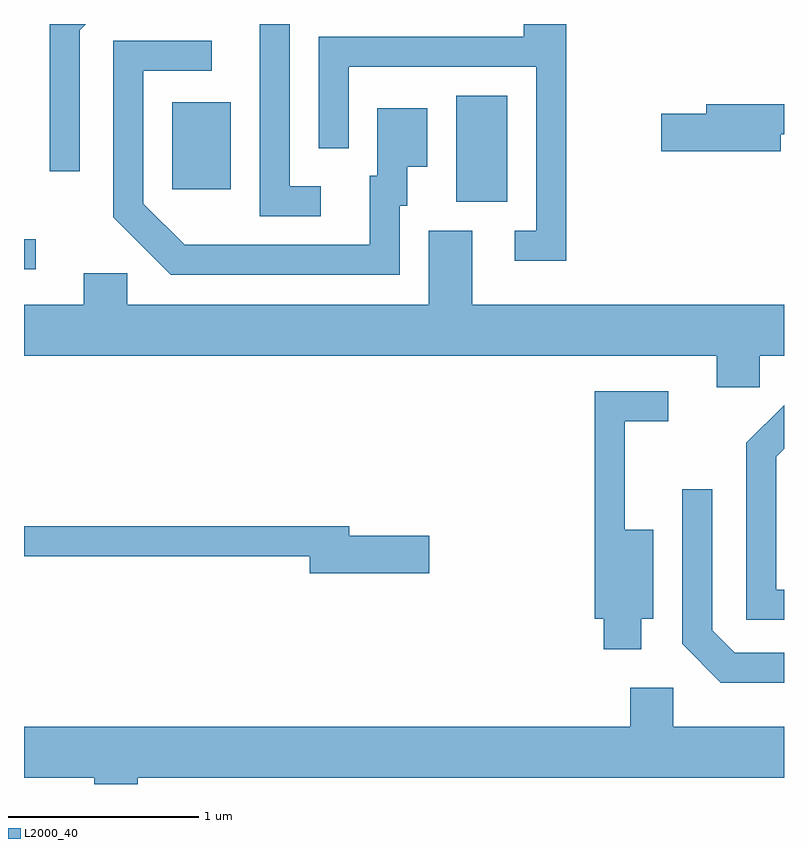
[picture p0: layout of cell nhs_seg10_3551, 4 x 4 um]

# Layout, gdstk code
import gdstk
lib = gdstk.Library(unit=1e-6, precision=1e-09)
def R(c, l, rs):  # rectangles x0, y0, x1, y1
    for r in rs: c.add(gdstk.rectangle(r[:2], r[2:], *l))
def P(c, l, *ps):  # polygons
    for p in ps: c.add(gdstk.Polygon(p, *l))
L2000_40 = (2000, 40)

nhs_seg10_3551 = lib.new_cell('nhs_seg10_3551')
R(nhs_seg10_3551, L2000_40, [(289.611,2143.231,289.673,2143.389), (291.886,2143.586,292.154,2144.144), (290.391,2143.651,290.699,2144.109)])
P(nhs_seg10_3551, L2000_40, [(292.464,2144.522),(292.241,2144.522),(292.241,2144.454),(291.161,2144.454),(291.161,2143.868),(291.319,2143.868),(291.319,2144.296),(292.306,2144.296),(292.306,2143.434),(292.193,2143.434),(292.193,2143.276),(292.464,2143.276)],
  [(289.904,2144.489),(289.937,2144.522),(289.746,2144.522),(289.746,2143.748),(289.904,2143.748)],
  [(291.173,2143.669),(291.009,2143.669),(291.009,2144.522),(290.851,2144.522),(290.851,2143.511),(291.173,2143.511)],
  [(291.589,2143.566),(291.629,2143.566),(291.629,2143.771),(291.734,2143.771),(291.734,2144.079),(291.471,2144.079),(291.471,2143.724),(291.431,2143.724),(291.431,2143.359),(290.457,2143.359),(290.239,2143.577),(290.239,2144.276),(290.598,2144.276),(290.598,2144.434),(290.081,2144.434),(290.081,2143.504),(290.384,2143.201),(291.589,2143.201)],
  [(293.594,2143.941),(293.611,2143.941),(293.611,2144.099),(293.201,2144.099),(293.201,2144.049),(292.966,2144.049),(292.966,2143.851),(293.594,2143.851)],
  [(293.484,2142.776),(293.611,2142.776),(293.611,2143.044),(291.969,2143.044),(291.969,2143.434),(291.741,2143.434),(291.741,2143.044),(290.154,2143.044),(290.154,2143.209),(289.926,2143.209),(289.926,2143.044),(289.611,2143.044),(289.611,2142.776),(293.256,2142.776),(293.256,2142.611),(293.484,2142.611)],
  [(292.859,2141.391),(292.924,2141.391),(292.924,2141.859),(292.774,2141.859),(292.774,2142.431),(293.003,2142.431),(293.003,2142.589),(292.616,2142.589),(292.616,2141.391),(292.661,2141.391),(292.661,2141.231),(292.859,2141.231)],
  [(293.611,2141.544),(293.569,2141.544),(293.569,2142.244),(293.611,2142.286),(293.611,2142.516),(293.411,2142.317),(293.411,2141.386),(293.611,2141.386)],
  [(293.611,2141.214),(293.352,2141.214),(293.234,2141.332),(293.234,2142.073),(293.076,2142.073),(293.076,2141.259),(293.279,2141.056),(293.611,2141.056)],
  [(291.744,2141.829),(291.324,2141.829),(291.324,2141.879),(289.611,2141.879),(289.611,2141.721),(291.116,2141.721),(291.116,2141.631),(291.744,2141.631)],
  [(290.209,2140.556),(293.611,2140.556),(293.611,2140.824),(293.029,2140.824),(293.029,2141.029),(292.801,2141.029),(292.801,2140.824),(289.611,2140.824),(289.611,2140.556),(289.981,2140.556),(289.981,2140.522),(290.209,2140.522)])

lib.write_gds('nhs_seg10_3551.gds')
